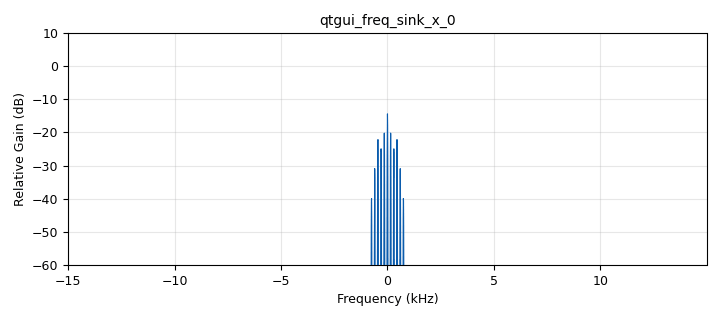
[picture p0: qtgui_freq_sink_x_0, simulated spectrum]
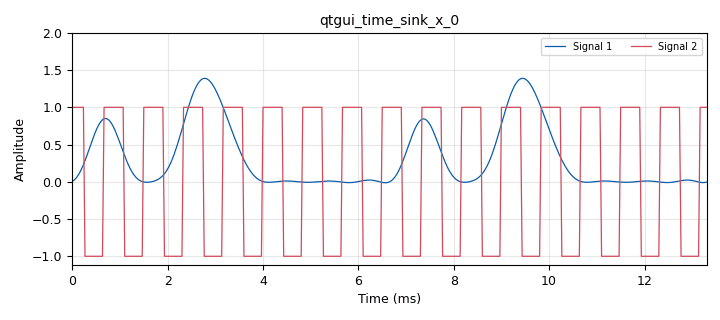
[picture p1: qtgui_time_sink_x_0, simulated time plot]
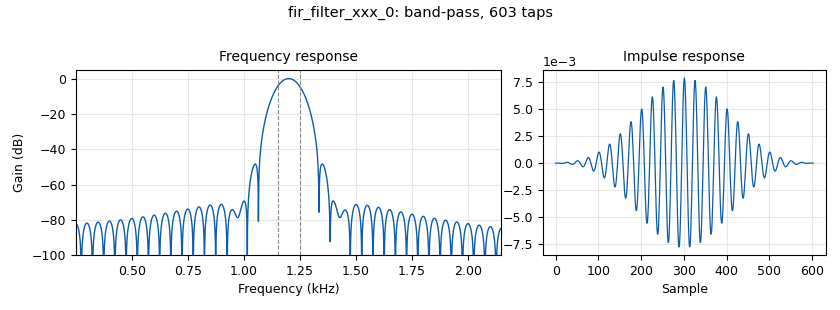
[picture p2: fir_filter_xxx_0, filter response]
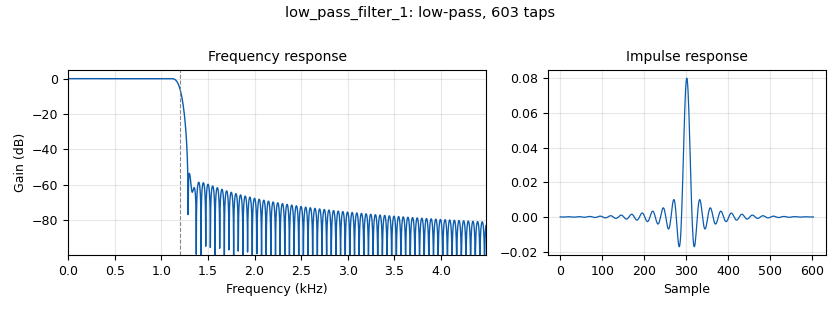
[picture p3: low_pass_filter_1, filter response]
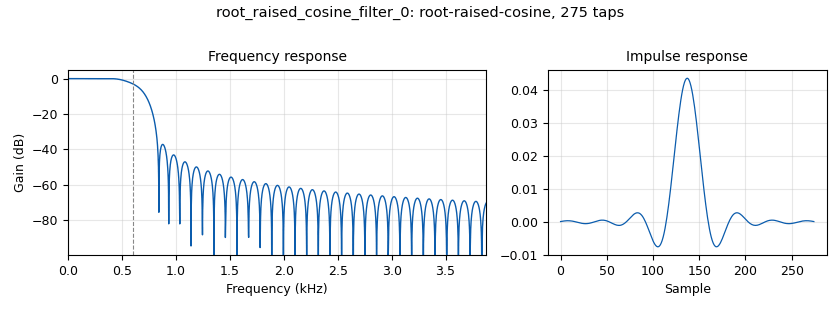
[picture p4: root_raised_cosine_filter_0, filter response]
options:
  parameters:
    author: student
    generate_options: qt_gui
    id: ook_loopback
    output_language: python
    title: Not titled yet
  states: {}

blocks:
- name: baud
  id: variable
  parameters:
    value: '1200'
  states: {}
- name: bpf_symclk_rec
  id: variable_band_pass_filter_taps
  parameters:
    gain: '1.0'
    high_cutoff_freq: baud+50
    low_cutoff_freq: baud-50
    samp_rate: samp_rate
    type: band_pass
    width: baud/10
    win: firdes.WIN_HAMMING
  states: {}
- name: payload
  id: variable
  parameters:
    value: '''a''*1000'
  states: {}
- name: samp_rate
  id: variable
  parameters:
    value: sps*baud
  states: {}
- name: sps
  id: variable
  parameters:
    value: '25'
  states: {}
- name: sym_delay
  id: variable_qtgui_range
  parameters:
    min_len: '100'
    orient: Qt.Horizontal
    rangeType: int
    start: '0'
    step: '1'
    stop: '7'
    value: '0'
  states: {}
- name: analog_const_source_x_0
  id: analog_const_source_x
  parameters:
    const: '0'
    type: float
  states: {}
- name: blocks_complex_to_real_0
  id: blocks_complex_to_real
  parameters: {}
  states: {}
- name: blocks_delay_0
  id: blocks_delay
  parameters:
    delay: sym_delay
    type: byte
  states: {}
- name: blocks_delay_1
  id: blocks_delay
  parameters:
    delay: (len(bpf_symclk_rec)-1)//2 % sps + sps//8
    type: float
  states: {}
- name: blocks_file_sink_0
  id: blocks_file_sink
  parameters:
    file: /dev/pts/1
    type: byte
  states: {}
- name: blocks_file_sink_1
  id: blocks_file_sink
  parameters:
    file: /home/student/grc/ook_loopback/test_out.dec.8u.real
    type: byte
  states: {state: disabled}
- name: blocks_file_sink_2
  id: blocks_file_sink
  parameters:
    file: /home/student/grc/ook_loopback/unpacked.tx.8u.real
    type: byte
  states: {state: disabled}
- name: blocks_file_sink_2_0
  id: blocks_file_sink
  parameters:
    file: /home/student/grc/ook_loopback/unpacked.rx.8u.real
    type: byte
  states: {state: disabled}
- name: blocks_float_to_complex_0
  id: blocks_float_to_complex
  parameters: {}
  states: {}
- name: blocks_multiply_xx_0
  id: blocks_multiply_xx
  parameters:
    type: float
  states: {}
- name: blocks_packed_to_unpacked_xx_0
  id: blocks_packed_to_unpacked_xx
  parameters:
    bits_per_chunk: '1'
    endianness: gr.GR_MSB_FIRST
    type: byte
  states: {}
- name: blocks_throttle_0
  id: blocks_throttle
  parameters:
    samples_per_second: samp_rate
    type: float
  states: {}
- name: blocks_throttle_1
  id: blocks_throttle
  parameters:
    samples_per_second: baud
    type: byte
  states: {state: disabled}
- name: blocks_unpacked_to_packed_xx_0
  id: blocks_unpacked_to_packed_xx
  parameters:
    bits_per_chunk: '1'
    endianness: gr.GR_MSB_FIRST
    type: byte
  states: {}
- name: blocks_vector_source_x_0
  id: blocks_vector_source_x
  parameters:
    repeat: 'True'
    type: byte
    vector: list(ord(i) for i in payload)
  states: {}
- name: channels_channel_model_0
  id: channels_channel_model
  parameters:
    block_tags: 'True'
    epsilon: '1.0'
    freq_offset: '0.0'
    noise_voltage: '.01'
    seed: '0'
    taps: 1.0 + 1.0j
  states: {}
- name: epy_block_0
  id: epy_block
  parameters:
    _source_code: |
      """
      Embedded Python Blocks:

      Each time this file is saved, GRC will instantiate the first class it finds
      to get ports and parameters of your block. The arguments to __init__  will
      be the parameters. All of them are required to have default values!
      """

      import numpy as np
      from gnuradio import gr


      class blk(gr.interp_block):  # other base classes are basic_block, decim_block, interp_block

          def __init__(self, scale=1.0, sps=25):  # only default arguments here
              gr.interp_block.__init__(
                  self,
                  name='Unipolar NRZ Encoder',   # will show up in GRC
                  in_sig=[np.int8],
                  out_sig=[np.float32],
                  interp=sps
              )
              # if an attribute with the same name as a parameter is found,
              # a callback is registered (properties work, too).
              self.scale = scale
              self.sps = sps

          def work(self, input_items, output_items):
              output_items[0][:] = np.kron(input_items[0], np.ones(self.sps))*self.scale
              return len(output_items[0])
    scale: '1'
    sps: sps
  states: {}
- name: epy_block_0_0
  id: epy_block
  parameters:
    _source_code: |
      """
      Embedded Python Blocks:

      Each time this file is saved, GRC will instantiate the first class it finds
      to get ports and parameters of your block. The arguments to __init__  will
      be the parameters. All of them are required to have default values!
      """

      import numpy as np
      from gnuradio import gr


      class blk(gr.sync_block):  # other base classes are basic_block, decim_block, interp_block

          def __init__(self, scale=1.0, null_zone=.01):  # only default arguments here
              gr.sync_block.__init__(
                  self,
                  name='Hard Limiter',   # will show up in GRC
                  in_sig=[np.float32],
                  out_sig=[np.float32]
              )
              # if an attribute with the same name as a parameter is found,
              # a callback is registered (properties work, too).
              self.scale = scale
              self.null_zone = null_zone

          def work(self, input_items, output_items):
              output_items[0][:] = np.array(input_items[0] > self.null_zone, dtype=int) - np.array(-self.null_zone > input_items[0], dtype=int)
              return len(output_items[0])
    null_zone: '0'
    scale: '1'
  states: {}
- name: epy_block_0_0_0
  id: epy_block
  parameters:
    _source_code: |
      """
      Embedded Python Blocks:

      Each time this file is saved, GRC will instantiate the first class it finds
      to get ports and parameters of your block. The arguments to __init__  will
      be the parameters. All of them are required to have default values!
      """

      import numpy as np
      from gnuradio import gr


      class blk(gr.decim_block):  # other base classes are basic_block, decim_block, interp_block

          def __init__(self, sps=25, symbol_threshold=.5):  # only default arguments here
              gr.decim_block.__init__(
                  self,
                  name='Clocked Unipolar NRZ Decoder',   # will show up in GRC
                  in_sig=[np.float32, np.float32],
                  out_sig=[np.int8],
                  decim=sps
              )
              # if an attribute with the same name as a parameter is found,
              # a callback is registered (properties work, too).
              self.sps = sps
              self.sym_thresh = symbol_threshold

          def work(self, input_items, output_items):
              io = 0

              for n in range(1, input_items[0].size):
                  if input_items[1][n-1] < -.01 and .01 < input_items[1][n]: #rising edge
                      if io >= output_items[0].size:
                          output_items[0][:-1] = output_items[0][1:] # shift the first off the edge
                          io -= 1

                      output_items[0][io] = int(input_items[0][n] > self.sym_thresh)
                      io += 1

              return io
    sps: sps
    symbol_threshold: '.5'
  states: {}
- name: fir_filter_xxx_0
  id: fir_filter_xxx
  parameters:
    decim: '1'
    taps: bpf_symclk_rec
    type: fff
  states: {}
- name: low_pass_filter_0
  id: low_pass_filter
  parameters:
    cutoff_freq: baud
    decim: '1'
    gain: '1'
    samp_rate: samp_rate
    type: fir_filter_fff
    width: baud/10
    win: firdes.WIN_HAMMING
  states: {state: disabled}
- name: low_pass_filter_1
  id: low_pass_filter
  parameters:
    cutoff_freq: baud
    decim: '1'
    gain: '1'
    samp_rate: samp_rate
    type: fir_filter_fff
    width: baud/10
    win: firdes.WIN_HAMMING
  states: {}
- name: qtgui_freq_sink_x_0
  id: qtgui_freq_sink_x
  parameters:
    average: '0.2'
    bw: samp_rate
    fc: '0'
    fftsize: '4096'
    grid: 'True'
    type: complex
    wintype: firdes.WIN_BLACKMAN_hARRIS
    ymin: '-60'
  states: {}
- name: qtgui_time_sink_x_0
  id: qtgui_time_sink_x
  parameters:
    grid: 'True'
    nconnections: '2'
    size: 16*sps
    srate: samp_rate
    type: float
    ymax: '2'
  states: {}
- name: root_raised_cosine_filter_0
  id: root_raised_cosine_filter
  parameters:
    alpha: '0.35'
    decim: '1'
    gain: '1'
    ntaps: 11*sps
    samp_rate: samp_rate
    sym_rate: baud
    type: fir_filter_fff
  states: {}
- name: virtual_sink_0
  id: virtual_sink
  parameters:
    stream_id: air_tx
  states: {}
- name: virtual_sink_1
  id: virtual_sink
  parameters:
    stream_id: air_rx
  states: {}
- name: virtual_source_0
  id: virtual_source
  parameters:
    stream_id: air_rx
  states: {}
- name: virtual_source_1
  id: virtual_source
  parameters:
    stream_id: air_tx
  states: {}

connections:
- [analog_const_source_x_0, '0', blocks_float_to_complex_0, '1']
- [blocks_complex_to_real_0, '0', blocks_multiply_xx_0, '0']
- [blocks_complex_to_real_0, '0', blocks_multiply_xx_0, '1']
- [blocks_delay_0, '0', blocks_file_sink_1, '0']
- [blocks_delay_0, '0', blocks_unpacked_to_packed_xx_0, '0']
- [blocks_delay_1, '0', epy_block_0_0_0, '1']
- [blocks_delay_1, '0', qtgui_time_sink_x_0, '1']
- [blocks_float_to_complex_0, '0', virtual_sink_0, '0']
- [blocks_multiply_xx_0, '0', fir_filter_xxx_0, '0']
- [blocks_multiply_xx_0, '0', low_pass_filter_1, '0']
- [blocks_packed_to_unpacked_xx_0, '0', blocks_throttle_1, '0']
- [blocks_packed_to_unpacked_xx_0, '0', epy_block_0, '0']
- [blocks_throttle_0, '0', low_pass_filter_0, '0']
- [blocks_throttle_0, '0', root_raised_cosine_filter_0, '0']
- [blocks_throttle_1, '0', blocks_file_sink_2, '0']
- [blocks_unpacked_to_packed_xx_0, '0', blocks_file_sink_0, '0']
- [blocks_vector_source_x_0, '0', blocks_packed_to_unpacked_xx_0, '0']
- [channels_channel_model_0, '0', qtgui_freq_sink_x_0, '0']
- [channels_channel_model_0, '0', virtual_sink_1, '0']
- [epy_block_0, '0', blocks_throttle_0, '0']
- [epy_block_0_0, '0', blocks_delay_1, '0']
- [epy_block_0_0_0, '0', blocks_delay_0, '0']
- [epy_block_0_0_0, '0', blocks_file_sink_2_0, '0']
- [fir_filter_xxx_0, '0', epy_block_0_0, '0']
- [low_pass_filter_0, '0', blocks_float_to_complex_0, '0']
- [low_pass_filter_1, '0', epy_block_0_0_0, '0']
- [low_pass_filter_1, '0', qtgui_time_sink_x_0, '0']
- [root_raised_cosine_filter_0, '0', blocks_float_to_complex_0, '0']
- [virtual_source_0, '0', blocks_complex_to_real_0, '0']
- [virtual_source_1, '0', channels_channel_model_0, '0']

metadata:
  file_format: 1
